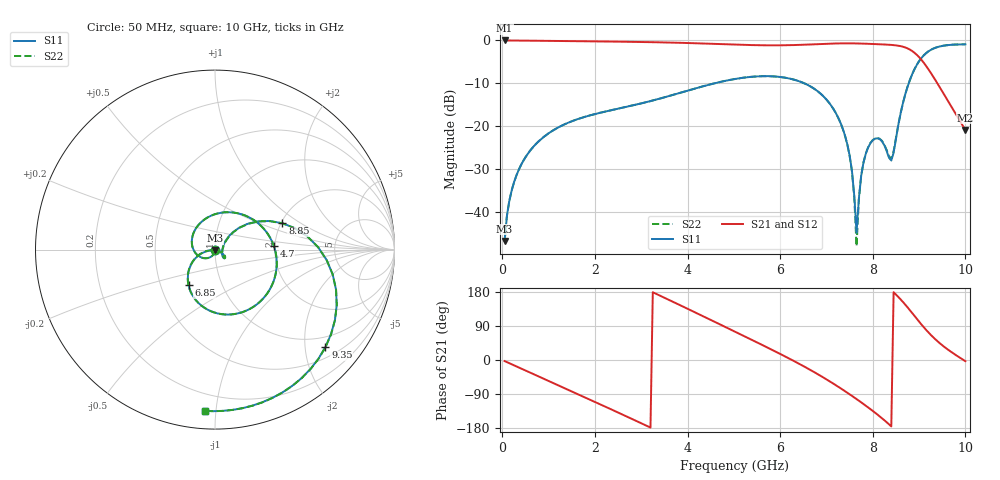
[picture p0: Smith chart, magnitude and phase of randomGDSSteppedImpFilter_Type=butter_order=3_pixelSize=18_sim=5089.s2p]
! freq	dB(S11)	phase(S11)	dB(S12)	phase(S12)
!  dB(S21)	phase(S21)	dB(S22)	phase(S22)
!S-par simulation data
#  GHz  S  DB  R 50
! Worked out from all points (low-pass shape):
!   200 points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, 50 MHz to 10 GHz, reference 50 ohm
!   highest |S21| = 0.00 dB at 50 MHz (marker M1); lowest = -20.9 dB at 10 GHz (marker M2)
!   |S21| within 3 dB of the highest: start of sweep to 8.915 GHz
!   lowest |S11| = -46.7 dB at 50 MHz (marker M3), VSWR 1.01, Z = 50 - j0.463 ohm
!   |S11| at or under -10 dB: start of sweep to 4.574 GHz; 6.526 GHz to 8.776 GHz (2.25 GHz wide, 29.4 % of centre)
!   |S22| runs from -47.9 to -0.9 dB; largest |S21 - S12| = 0
!   S11 on the Smith chart (normalised r, x): 50 MHz: 1.00, -0.01; 4.7 GHz: 1.97, +0.09; 6.85 GHz: 0.69, -0.29; 8.85 GHz: 2.03, +0.71; 9.35 GHz: 0.73, -2.45; 10 GHz: 0.10, -0.93
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0.05  -46.69 -90.5  -0.00 -2.8  -0.00 -2.8  -46.68 -90.5
0.2  -35.02 -99.8  -0.02 -11.1  -0.02 -11.1  -35.02 -99.8
0.5  -27.20 -118.0  -0.05 -27.7  -0.05 -27.7  -27.20 -118.0
1.75  -17.89 171.9  -0.19 -96.7  -0.19 -96.7  -17.89 172.1
2.65  -15.53 121.4  -0.30 -147.0  -0.30 -147.0  -15.53 121.6
3.4  -13.54 78.7  -0.44 170.1  -0.44 170.1  -13.54 78.9
4.7  -9.68 3.6  -0.85 94.0  -0.85 94.0  -9.68 3.7
5.05  -8.93 -16.7  -0.98 73.3  -0.98 73.3  -8.93 -16.7
5.95  -8.45 -69.6  -1.14 19.2  -1.14 19.2  -8.45 -69.7
6.7  -11.00 -116.7  -0.91 -29.5  -0.91 -29.5  -11.00 -116.9
6.85  -12.17 -126.8  -0.84 -40.1  -0.84 -40.1  -12.18 -127.0
7.45  -24.16 -166.8  -0.67 -86.3  -0.67 -86.3  -24.21 -168.4
7.55  -30.33 -169.1  -0.68 -94.6  -0.68 -94.6  -30.49 -172.5
7.65  -44.72 -99.0  -0.70 -103.1  -0.70 -103.1  -47.89 -94.5
7.75  -31.48 -26.6  -0.72 -111.8  -0.72 -111.8  -31.47 -22.1
7.85  -26.34 -28.6  -0.76 -120.6  -0.76 -120.6  -26.30 -26.1
8.1  -22.77 -41.9  -0.87 -143.9  -0.87 -143.9  -22.69 -40.2
8.35  -27.31 -25.8  -1.00 -169.7  -1.00 -169.7  -26.94 -24.1
8.85  -7.89 21.4  -2.46 124.1  -2.46 124.1  -7.88 21.2
9.1  -3.48 -11.9  -5.18 86.6  -5.18 86.6  -3.48 -11.9
9.35  -1.71 -41.5  -9.19 54.7  -9.19 54.7  -1.71 -41.4
10  -0.91 -93.7  -20.86 -3.1  -20.86 -3.1  -0.91 -93.5
